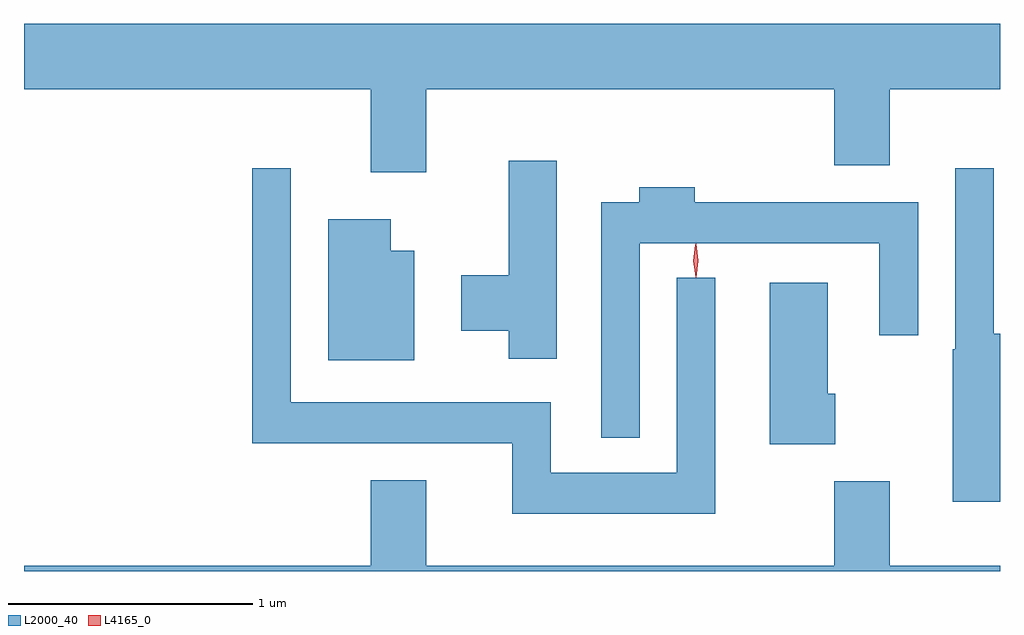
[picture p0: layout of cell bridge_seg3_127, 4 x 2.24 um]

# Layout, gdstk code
import gdstk
lib = gdstk.Library(unit=1e-6, precision=1e-09)
def P(c, l, *ps):  # polygons
    for p in ps: c.add(gdstk.Polygon(p, *l))
L2000_40 = (2000, 40)
L4165_0 = (4165, 0)

bridge_seg3_127 = lib.new_cell('bridge_seg3_127')
P(bridge_seg3_127, L2000_40, [(890.579,1250.336),(892.251,1250.336),(892.251,1250.026),(892.479,1250.026),(892.479,1250.336),(892.93,1250.336),(892.93,1250.604),(888.93,1250.604),(888.93,1250.336),(890.351,1250.336),(890.351,1249.996),(890.579,1249.996)],
  [(891.114,1250.044),(890.916,1250.044),(890.916,1249.574),(890.721,1249.574),(890.721,1249.346),(890.916,1249.346),(890.916,1249.231),(891.114,1249.231)],
  [(892.93,1249.334),(892.904,1249.334),(892.904,1250.013),(892.746,1250.013),(892.746,1249.27),(892.736,1249.27),(892.736,1248.646),(892.93,1248.646)],
  [(891.764,1249.563),(891.606,1249.563),(891.606,1248.764),(891.089,1248.764),(891.089,1249.054),(890.024,1249.054),(890.024,1250.013),(889.866,1250.013),(889.866,1248.886),(890.931,1248.886),(890.931,1248.596),(891.764,1248.596)],
  [(891.454,1249.706),(892.436,1249.706),(892.436,1249.328),(892.594,1249.328),(892.594,1249.874),(891.679,1249.874),(891.679,1249.934),(891.451,1249.934),(891.451,1249.874),(891.296,1249.874),(891.296,1248.908),(891.454,1248.908)],
  [(890.529,1249.674),(890.434,1249.674),(890.434,1249.804),(890.176,1249.804),(890.176,1249.226),(890.529,1249.226)],
  [(892.254,1249.089),(892.224,1249.089),(892.224,1249.544),(891.986,1249.544),(891.986,1248.881),(892.254,1248.881)],
  [(892.93,1248.384),(892.479,1248.384),(892.479,1248.729),(892.251,1248.729),(892.251,1248.384),(890.579,1248.384),(890.579,1248.734),(890.351,1248.734),(890.351,1248.384),(888.93,1248.384),(888.93,1248.362),(892.93,1248.362)])
P(bridge_seg3_127, L4165_0, [(891.683,1249.567),(891.683,1249.568),(891.673,1249.634),(891.682,1249.7),(891.683,1249.7),(891.683,1249.7),(891.693,1249.634),(891.684,1249.568)],
  [(891.684,1249.564),(891.684,1249.564),(891.674,1249.633),(891.684,1249.703),(891.684,1249.703),(891.685,1249.703),(891.694,1249.633),(891.685,1249.564)])

lib.write_gds('bridge_seg3_127.gds')
